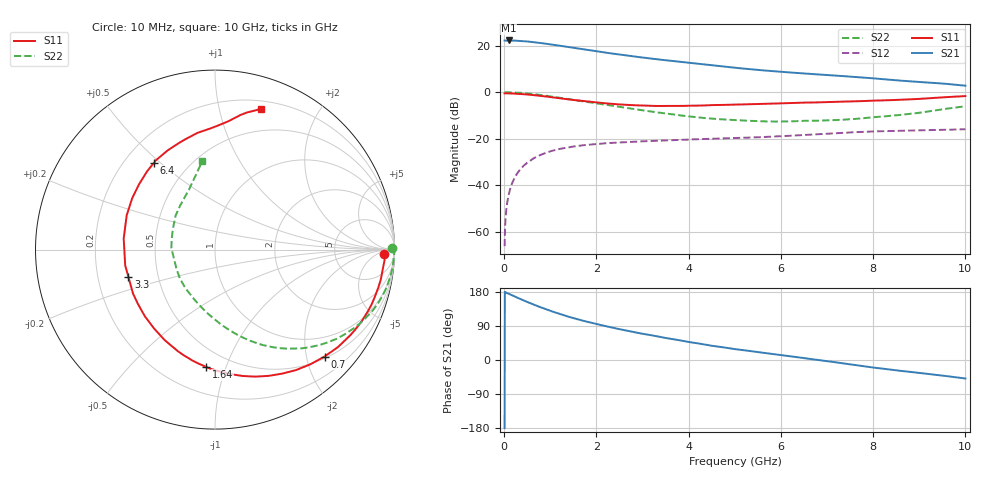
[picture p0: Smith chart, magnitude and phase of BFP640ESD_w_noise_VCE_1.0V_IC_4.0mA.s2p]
! Infineon Technologies  Discrete & RF Semiconductors
! BFP640ESD
! VCE =  1.0 V,  IC =  4.0 mA
! Common Emitter S-Parameters:  Jan 2016
# GHz  S  MA  R  50
!  f  S11  S21  S12  S22
! GHz  MAG  ANG  MAG  ANG  MAG  ANG  MAG  ANG
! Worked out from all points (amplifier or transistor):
!   233 points, 10 MHz to 10 GHz, reference 50 ohm
!   highest |S21| = 22.2 dB at 100 MHz (marker M1)
!   |S21| within 3 dB of that: start of sweep to 1.445 GHz
!   unconditionally stable (mu >= 1): 4.902 GHz to 9.35 GHz
!   at 200 MHz: K = 0.04, MSG = 30.0 dB, |S12| = -37.8 dB
!   at 1.74 GHz: K = 0.40, MSG = 20.5 dB, |S12| = -22.7 dB
!   at 10 GHz: K = 0.87, MSG = 9.3 dB, |S12| = -15.9 dB
!   lowest NFmin = 0.56 dB at 450 MHz
!   S11 on the Smith chart (normalised r, x): 10 MHz: 29, -12; 700 MHz: 0.54, -2.35; 1.64 GHz: 0.37, -0.86; 3.3 GHz: 0.33, -0.14; 6.4 GHz: 0.32, +0.48; 10 GHz: 0.28, +1.34
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0.01  0.9431 -1.4  12.78 -179.8  0.0005 91.7  0.9887 0.4
0.04  0.9454 -2.8  12.75 178.0  0.0026 89.6  0.9981 -1.8
0.1  0.9408 -6.7  12.83 174.8  0.0064 85.0  0.9956 -4.3
0.34  0.9183 -22.1  12.59 161.7  0.0215 76.5  0.9708 -14.7
0.5  0.8926 -32.2  12.23 153.2  0.0308 70.6  0.941 -21.3
0.7  0.8529 -44.3  11.65 143.3  0.0411 63.6  0.894 -28.9
0.9  0.8092 -56.0  10.96 134.1  0.05 57.2  0.8421 -36.0
1.1  0.7643 -67.0  10.26 125.7  0.0574 51.7  0.7874 -42.5
1.3  0.7211 -77.6  9.584 117.8  0.0635 46.7  0.7341 -48.5
1.64  0.6559 -94.2  8.498 105.8  0.0714 39.8  0.6513 -57.2
1.68  0.6491 -96.1  8.381 104.6  0.0721 39.1  0.6425 -58.2
2  0.6022 -110.2  7.506 95.0  0.0776 34.2  0.5767 -65.3
2.4  0.5555 -127.6  6.611 83.9  0.0829 29.0  0.5006 -74.1
2.8  0.5265 -144.2  5.849 73.9  0.0867 24.9  0.4347 -82.9
3.3  0.5059 -162.6  5.089 62.9  0.0908 21.1  0.371 -93.6
3.4  0.5059 -166.3  4.959 60.6  0.0916 20.4  0.3601 -96.0
4  0.5123 173.2  4.276 47.6  0.0966 16.8  0.3031 -111.7
5.1  0.5451 146.3  3.265 27.3  0.1045 11.3  0.2495 -143.1
6.4  0.5916 125.1  2.559 6.6  0.1191 6.3  0.2404 -179.4
6.8  0.6045 118.7  2.401 0.2  0.1254 4.2  0.2451 170.9
8.4  0.6757 92.1  1.83 -25.8  0.147 -8.7  0.3123 128.5
10  0.8236 72.0  1.375 -48.8  0.16 -20.9  0.4997 98.1
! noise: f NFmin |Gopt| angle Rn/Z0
0.45  0.56  0.48  10  0.14
0.9  0.59  0.46  23  0.14
1.9  0.68  0.36  48  0.13
2.4  0.72  0.32  65  0.12
5.5  1.15  0.36  -147  0.14
10  2.27  0.65  -83  0.98
